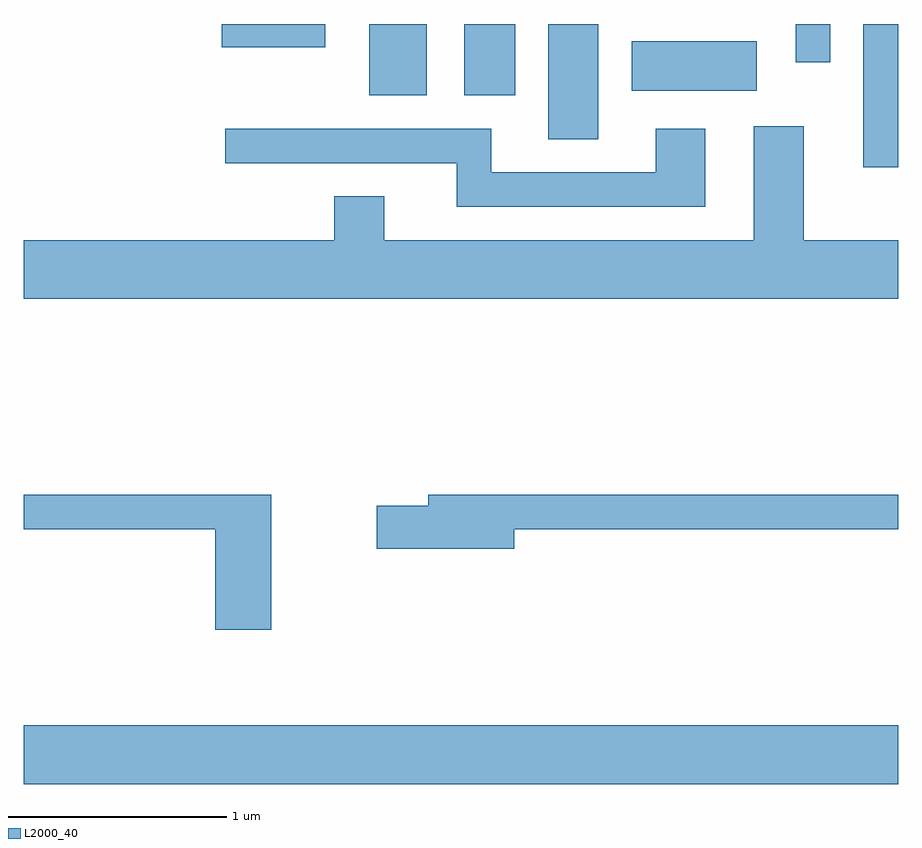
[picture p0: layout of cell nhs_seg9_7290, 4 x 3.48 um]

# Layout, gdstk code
import gdstk
lib = gdstk.Library(unit=1e-6, precision=1e-09)
def R(c, l, rs):  # rectangles x0, y0, x1, y1
    for r in rs: c.add(gdstk.rectangle(r[:2], r[2:], *l))
def P(c, l, *ps):  # polygons
    for p in ps: c.add(gdstk.Polygon(p, *l))
L2000_40 = (2000, 40)

nhs_seg9_7290 = lib.new_cell('nhs_seg9_7290')
R(nhs_seg9_7290, L2000_40, [(401.611,1962.956,405.611,1963.224), (405.451,1965.776,405.611,1966.432), (404.011,1965.906,404.239,1966.432), (403.191,1966.106,403.454,1966.432), (403.626,1966.106,403.859,1966.432), (404.391,1966.126,404.964,1966.354), (405.141,1966.258,405.299,1966.432), (402.516,1966.326,402.989,1966.432)])
P(nhs_seg9_7290, L2000_40, [(403.031,1965.644),(403.031,1965.444),(401.611,1965.444),(401.611,1965.176),(405.611,1965.176),(405.611,1965.444),(405.179,1965.444),(405.179,1965.964),(404.951,1965.964),(404.951,1965.444),(403.259,1965.444),(403.259,1965.644)],
  [(404.729,1965.954),(404.501,1965.954),(404.501,1965.754),(403.749,1965.754),(403.749,1965.954),(402.533,1965.954),(402.533,1965.796),(403.591,1965.796),(403.591,1965.596),(404.729,1965.596)],
  [(402.744,1964.279),(401.611,1964.279),(401.611,1964.121),(402.486,1964.121),(402.486,1963.661),(402.744,1963.661)],
  [(403.854,1964.121),(405.611,1964.121),(405.611,1964.279),(403.461,1964.279),(403.461,1964.229),(403.226,1964.229),(403.226,1964.031),(403.854,1964.031)])

lib.write_gds('nhs_seg9_7290.gds')
